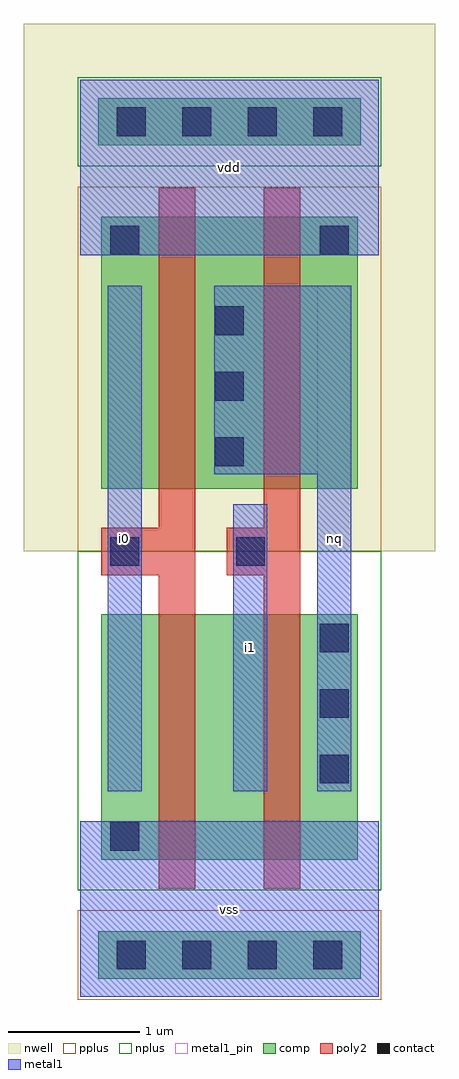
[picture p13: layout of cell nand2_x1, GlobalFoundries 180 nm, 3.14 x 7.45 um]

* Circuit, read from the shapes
.subckt nand2_x1 i0 i1 nq vdd vss
XM1 n1 i0 vss vss nfet_03v3 w=1.875u l=0.28u
XM2 nq i1 n1 vss nfet_03v3 w=1.875u l=0.28u
XM3 nq i0 vdd vdd pfet_03v3 w=2.075u l=0.28u
XM4 vdd i1 nq vdd pfet_03v3 w=2.075u l=0.28u
.ends

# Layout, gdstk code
import gdstk
lib = gdstk.Library(unit=1e-6, precision=1e-09)
def R(c, l, rs):  # rectangles x0, y0, x1, y1
    for r in rs: c.add(gdstk.rectangle(r[:2], r[2:], *l))
def A(c, l, x, y, w, h, nx, ny, dx, dy):  # array of equal rectangles
    R(c, l, [(x+i*dx, y+j*dy, x+i*dx+w, y+j*dy+h) for i in range(nx) for j in range(ny)])
def P(c, l, *ps):  # polygons
    for p in ps: c.add(gdstk.Polygon(p, *l))
nwell = (21, 0)
comp = (22, 0)
poly2 = (30, 0)
pplus = (31, 0)
nplus = (32, 0)
contact = (33, 0)
metal1 = (34, 0)
metal1_pin = (34, 10)

nand2_x1 = lib.new_cell('nand2_x1')
R(nand2_x1, nwell, [(-0.43,3.4,2.71,7.43)])
R(nand2_x1, comp, [(0.14,0.14,2.14,0.5), (0.16,1.045,2.12,2.92), (0.16,3.88,2.12,5.955), (0.14,6.5,2.14,6.86)])
P(nand2_x1, poly2, [(0.6,0.825),(0.6,3.22),(0.16,3.22),(0.16,3.58),(0.6,3.58),(0.6,6.175),(0.88,6.175),(0.88,0.825)],
  [(1.4,0.825),(1.4,3.22),(1.12,3.22),(1.12,3.58),(1.4,3.58),(1.4,6.175),(1.68,6.175),(1.68,0.825)])
R(nand2_x1, pplus, [(-0.02,-0.02,2.3,0.66), (-0.02,3.4,2.3,6.185)])
R(nand2_x1, nplus, [(-0.02,0.815,2.3,3.4), (-0.02,6.34,2.3,7.02)])
A(nand2_x1, contact, 0.28, 0.21, 0.22, 0.22, 4, 2, 0.5, 6.36)
A(nand2_x1, contact, 1.83, 1.63, 0.22, 0.22, 1, 3, 0, 0.5)
A(nand2_x1, contact, 1.03, 4.05, 0.22, 0.22, 1, 3, 0, 0.5)
R(nand2_x1, contact, [(0.23,1.115,0.45,1.335), (0.23,3.29,0.45,3.51), (1.19,3.29,1.41,3.51), (0.23,5.665,0.45,5.885), (1.83,5.665,2.05,5.885)])
R(nand2_x1, metal1, [(0,0,2.28,1.34), (0.21,1.57,0.47,5.43), (1.17,1.57,1.43,3.76), (0,5.66,2.28,7)])
P(nand2_x1, metal1, [(1.81,1.57),(1.81,3.99),(1.025,3.99),(1.025,5.43),(2.07,5.43),(2.07,1.57)])
R(nand2_x1, metal1_pin, [(0,0,2.28,1.34), (0.21,1.57,0.47,5.43), (1.17,1.57,1.43,3.76), (1.81,1.57,2.07,5.43), (0,5.66,2.28,7)])
nand2_x1.add(gdstk.Label('vss', (1.14,0.67), layer=34, texttype=10))
nand2_x1.add(gdstk.Label('vdd', (1.14,6.33), layer=34, texttype=10))
nand2_x1.add(gdstk.Label('i0', (0.34,3.5), layer=34, texttype=10))
nand2_x1.add(gdstk.Label('nq', (1.94,3.5), layer=34, texttype=10))
nand2_x1.add(gdstk.Label('i1', (1.3,2.665), layer=34, texttype=10))

lib.write_gds('nand2_x1.gds')
